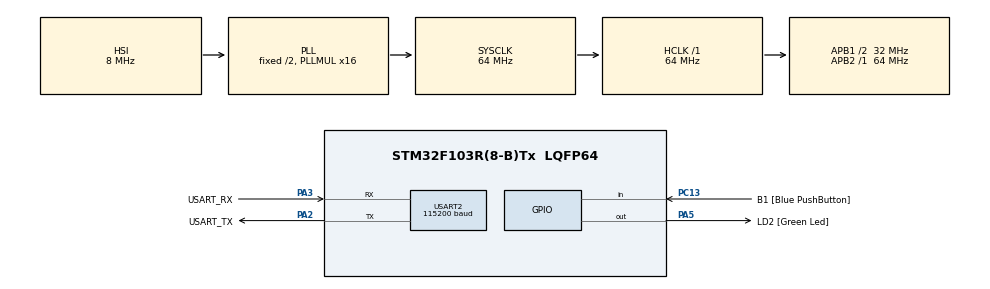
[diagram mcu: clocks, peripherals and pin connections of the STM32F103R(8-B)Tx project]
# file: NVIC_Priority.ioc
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Mcu.Family=STM32F1
Mcu.Name=STM32F103R(8-B)Tx
Mcu.Package=LQFP64
NVIC.PriorityGroup=NVIC_PRIORITYGROUP_2
NVIC.TIM2_IRQn=true\:1\:0\:false\:false\:true\:true\:true\:true
NVIC.TIM3_IRQn=true\:0\:0\:false\:false\:true\:true\:true\:true
PA13.GPIO_Label=TMS
PA13.Mode=Serial_Wire
PA13.Signal=SYS_JTMS-SWDIO
PA14.GPIO_Label=TCK
PA14.Mode=Serial_Wire
PA14.Signal=SYS_JTCK-SWCLK
PA2.GPIO_Label=USART_TX
PA2.GPIO_Mode=GPIO_MODE_AF_PP
PA2.GPIO_PuPd=GPIO_NOPULL
PA2.GPIO_Speed=GPIO_SPEED_FREQ_LOW
PA2.Mode=Asynchronous
PA2.Signal=USART2_TX
PA3.GPIO_Label=USART_RX
PA3.GPIO_PuPd=GPIO_NOPULL
PA3.GPIO_Speed=GPIO_SPEED_FREQ_LOW
PA3.Mode=Asynchronous
PA3.Signal=USART2_RX
PA5.GPIO_Label=LD2 [Green Led]
PA5.GPIO_ModeDefaultOutputPP=GPIO_MODE_OUTPUT_PP
PA5.GPIO_PuPd=GPIO_NOPULL
PA5.GPIO_Speed=GPIO_SPEED_FREQ_LOW
PA5.Signal=GPIO_Output
PB3.GPIO_Label=SWO
PB3.Signal=SYS_JTDO-TRACESWO
PC13-TAMPER-RTC.GPIO_Label=B1 [Blue PushButton]
PC13-TAMPER-RTC.GPIO_PuPd=GPIO_NOPULL
PC13-TAMPER-RTC.Signal=GPIO_Input
PC14-OSC32_IN.Mode=LSE-External-Oscillator
PC14-OSC32_IN.Signal=RCC_OSC32_IN
PC15-OSC32_OUT.Mode=LSE-External-Oscillator
PC15-OSC32_OUT.Signal=RCC_OSC32_OUT
PD0-OSC_IN.Mode=HSE-External-Clock-Source
PD0-OSC_IN.Signal=RCC_OSC_IN
PD1-OSC_OUT.Mode=HSE-External-Clock-Source
PD1-OSC_OUT.Signal=RCC_OSC_OUT
ProjectManager.HeapSize=0x200
ProjectManager.StackSize=0x400
ProjectManager.TargetToolchain=STM32CubeIDE
RCC.AHBFreq_Value=64000000
RCC.APB1CLKDivider=RCC_HCLK_DIV2
RCC.APB1Freq_Value=32000000
RCC.APB1TimFreq_Value=64000000
RCC.APB2Freq_Value=64000000
RCC.APB2TimFreq_Value=64000000
RCC.HCLKFreq_Value=64000000
RCC.PLLMUL=RCC_PLL_MUL16
RCC.RTCClockSelection=RCC_RTCCLKSOURCE_LSE
RCC.SYSCLKFreq_VALUE=64000000
RCC.SYSCLKSource=RCC_SYSCLKSOURCE_PLLCLK
RCC.USBFreq_Value=64000000
TIM2.Period=999
TIM2.Prescaler=6399
TIM3.Period=99
TIM3.Prescaler=6399
USART2.BaudRate=115200
USART2.VirtualMode=VM_ASYNC
VP_TIM2_VS_ClockSourceINT.Mode=Internal
VP_TIM3_VS_ClockSourceINT.Mode=Internal
board=NUCLEO-F103RB

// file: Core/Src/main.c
/* USER CODE BEGIN Header */
/**
 ******************************************************************************
 * @file           : main.c
 * @brief          : Main program body
 ******************************************************************************
 * @attention
 *
 * Copyright (c) 2026 STMicroelectronics.
 * All rights reserved.
 *
 * This software is licensed under terms that can be found in the LICENSE file
 * in the root directory of this software component.
 * If no LICENSE file comes with this software, it is provided AS-IS.
 *
 ******************************************************************************
 */
/**
 * 06_NVIC_Priority_HAL_c  —  [계층: HAL]  NVIC 우선순위 그룹(선점/서브)과 인터럽트 중첩 실험
 *
 * 실험 구성
 *   TIM3 ISR : 10ms 마다 발생, 짧다. 진입 간격의 "최대값(지터)"을 측정한다. (급한 인터럽트 역할)
 *   TIM2 ISR : 100ms 마다 발생, 일부러 20ms 동안 바쁜 대기한다. (오래 걸리는 인터럽트 역할)
 *   -> TIM2 ISR 이 실행되는 20ms 동안 TIM3 가 제때 들어올 수 있는지가 우선순위 설정에 달렸다.
 *
 * B1(PC13)을 누를 때마다 우선순위 케이스가 A -> B -> C 로 바뀌고, 1초마다 결과를 UART(115200)로 출력한다.
 *
 *   케이스 A (TIM3 선점 우선순위 0 < TIM2 1) : TIM3 가 TIM2 ISR 을 "선점(중첩)". 최대 간격 ~10ms 유지.
 *   케이스 B (선점 우선순위 같음 1, 서브만 TIM3 가 높음) : 서브 우선순위는 "선점하지 못한다".
 *                                              TIM3 는 TIM2 ISR 이 끝날 때까지 대기 -> 최대 간격 ~20~30ms.
 *   케이스 C (TIM3 선점 2, TIM2 선점 1) : 긴 ISR 에 더 높은 우선순위를 준 잘못된 배정. B 와 비슷하게 지연.
 *   교훈: "짧고 급한" 인터럽트에 높은 우선순위를, "길고 덜 급한" 인터럽트에 낮은 우선순위를 주어야 한다.
 *
 * NVIC 우선순위 (STM32F103: 우선순위 비트 4개 = 상위 4비트만 구현)
 *   HAL_NVIC_SetPriorityGrouping(NVIC_PRIORITYGROUP_2) -> SCB->AIRCR.PRIGROUP = 5
 *     -> 우선순위 필드 [7:4] 중 상위 2비트 = 선점(preempt, 0~3), 하위 2비트 = 서브(sub, 0~3)
 *   HAL_NVIC_SetPriority(irq, preempt, sub) -> NVIC->IP[irq] 에 인코딩하여 기록. 숫자가 작을수록 우선순위가 높다.
 *   같은 선점 우선순위끼리는 중첩 불가, 동시에 대기 중일 때만 서브 우선순위로 실행 순서를 정한다.
 *
 * ISR vs 콜백
 *   TIM2_IRQHandler / TIM3_IRQHandler (stm32f1xx_it.c, 진짜 ISR) -> HAL_TIM_IRQHandler()
 *     -> HAL_TIM_PeriodElapsedCallback() (이 파일) : 두 타이머가 같은 콜백을 공유하므로 Instance 로 구분
 *   ISR 안에서 UART 출력을 하지 않고 통계 변수만 갱신한다 (출력은 main).
 *
 * 측정: DWT 사이클 카운터 (64MHz). SysTick 은 TICK_INT_PRIORITY=0(최고)이라 HAL_Delay 가 흔들리지 않는다.
 */
/* USER CODE END Header */
#include "main.h"

/* USER CODE BEGIN Includes */
#include <stdio.h>
#include <string.h>
/* USER CODE END Includes */

/* USER CODE BEGIN PD */
#define CPU_MHZ 64U

/* USER CODE END PD */

TIM_HandleTypeDef htim2;
TIM_HandleTypeDef htim3;
UART_HandleTypeDef huart2;

/* USER CODE BEGIN PV */
static volatile uint32_t tim3_last;         /* TIM3 직전 진입 시각 (사이클) */
static volatile uint32_t tim3_max_gap_us;   /* 최근 1초간 TIM3 진입 간격 최대값 [us] */
static volatile uint32_t tim3_count, tim2_count;
static volatile uint8_t  tim3_first = 1;

static uint8_t prio_case;                   /* 0=A, 1=B, 2=C */

static const char *const case_desc[3] = {
    "A: TIM3(pre 0) preempts TIM2(pre 1)  -> nesting",
    "B: same preempt(1), sub only         -> no nesting",
    "C: TIM3(pre 2) below TIM2(pre 1)     -> long ISR wins"
};
/* USER CODE END PV */

void SystemClock_Config(void);
static void MX_GPIO_Init(void);
static void MX_TIM2_Init(void);
static void MX_TIM3_Init(void);
static void MX_USART2_UART_Init(void);
/* USER CODE BEGIN PFP */
static void apply_case(uint8_t c);

/* USER CODE END PFP */

/* USER CODE BEGIN 0 */
/* 케이스별 NVIC 우선순위 적용. NVIC->IP[TIM2_IRQn / TIM3_IRQn] 를 다시 쓴다 */
static void apply_case(uint8_t c)
{
    static const uint8_t tim3_pre[3] = {0, 1, 2}, tim3_sub[3] = {0, 0, 0};
    static const uint8_t tim2_pre[3] = {1, 1, 1}, tim2_sub[3] = {0, 1, 0};

    HAL_NVIC_SetPriority(TIM3_IRQn, tim3_pre[c], tim3_sub[c]);
    HAL_NVIC_SetPriority(TIM2_IRQn, tim2_pre[c], tim2_sub[c]);

    __disable_irq();
    prio_case = c;
    tim3_first = 1; tim3_max_gap_us = 0; tim3_count = 0; tim2_count = 0;
    __enable_irq();
}

/* USER CODE END 0 */

int main(void)
{

  /* MCU Configuration--------------------------------------------------------*/

  /* Reset of all peripherals, Initializes the Flash interface and the Systick. */
  HAL_Init();

  /* USER CODE BEGIN Init */
  /* NVIC 우선순위 그룹 2: SCB->AIRCR.PRIGROUP = 5 -> 선점 2비트 / 서브 2비트.
   * HAL_MspInit/MX_TIM*_Init (TIMx_MspInit 의 HAL_NVIC_SetPriority) 보다 먼저 설정해야 우선순위가 이 그룹 기준으로 인코딩된다. */
  HAL_NVIC_SetPriorityGrouping(NVIC_PRIORITYGROUP_2);
  /* USER CODE END Init */

  /* Configure the system clock */
  SystemClock_Config();

  /* Initialize all configured peripherals */
  MX_GPIO_Init();
  MX_TIM2_Init();
  MX_TIM3_Init();
  MX_USART2_UART_Init();
  /* USER CODE BEGIN 2 */
  /* DWT 사이클 카운터: CoreDebug->DEMCR.TRCENA=1, DWT->CTRL.CYCCNTENA=1 */
  CoreDebug->DEMCR |= CoreDebug_DEMCR_TRCENA_Msk;
  DWT->CYCCNT = 0;
  DWT->CTRL |= DWT_CTRL_CYCCNTENA_Msk;

  /* 케이스 A 우선순위 적용 (NVIC->IP[TIM2_IRQn/TIM3_IRQn] 를 선점/서브 그룹 2 기준으로 기록) 후 타이머 시작.
   * 원본은 타이머를 먼저 시작한 뒤 apply_case(0) 를 호출했지만, 우선순위가 정해진 뒤에 시작하도록 순서를 바꿨다. */
  apply_case(0);
  if (HAL_TIM_Base_Start_IT(&htim3) != HAL_OK) Error_Handler();   /* TIM3->DIER.UIE = 1, CR1.CEN = 1 */
  if (HAL_TIM_Base_Start_IT(&htim2) != HAL_OK) Error_Handler();   /* TIM2->DIER.UIE = 1, CR1.CEN = 1 */

  char msg[112];
  uint32_t t_print = DWT->CYCCNT;
  /* USER CODE END 2 */

  /* Infinite loop */
  while (1)
  {

    /* USER CODE BEGIN 3 */
    /* 1초마다 통계 출력 (SysTick 이 아니라 DWT 로 시간을 잰다) */
    if ((DWT->CYCCNT - t_print) >= CPU_MHZ * 1000000U)
    {
      t_print += CPU_MHZ * 1000000U;

      __disable_irq();                               /* ISR 이 쓰는 변수를 한꺼번에 읽고 초기화 */
      uint32_t gap = tim3_max_gap_us, c3 = tim3_count, c2 = tim2_count;
      tim3_max_gap_us = 0; tim3_count = 0; tim2_count = 0;
      __enable_irq();

      int n = snprintf(msg, sizeof msg, "[%s] TIM3 max gap=%lu us, TIM3=%lu, TIM2=%lu (1s)\r\n",
              case_desc[prio_case], (unsigned long)gap, (unsigned long)c3, (unsigned long)c2);
      HAL_UART_Transmit(&huart2, (uint8_t *)msg, (uint16_t)n, 200);
    }

    if (HAL_GPIO_ReadPin(B1_GPIO_Port, B1_Pin) == GPIO_PIN_RESET)   /* B1 : 케이스 전환 */
    {
      HAL_Delay(30);
      apply_case((uint8_t)((prio_case + 1) % 3));
      while (HAL_GPIO_ReadPin(B1_GPIO_Port, B1_Pin) == GPIO_PIN_RESET) {}
      HAL_Delay(30);
    }
  }
  /* USER CODE END 3 */
}

void SystemClock_Config(void)
{
  RCC_OscInitTypeDef RCC_OscInitStruct = {0};
  RCC_ClkInitTypeDef RCC_ClkInitStruct = {0};

  /** Initializes the RCC Oscillators according to the specified parameters
  * in the RCC_OscInitTypeDef structure.
  */
  RCC_OscInitStruct.OscillatorType = RCC_OSCILLATORTYPE_HSI;
  RCC_OscInitStruct.HSIState = RCC_HSI_ON;
  RCC_OscInitStruct.HSICalibrationValue = RCC_HSICALIBRATION_DEFAULT;
  RCC_OscInitStruct.PLL.PLLState = RCC_PLL_ON;
  RCC_OscInitStruct.PLL.PLLSource = RCC_PLLSOURCE_HSI_DIV2;
  RCC_OscInitStruct.PLL.PLLMUL = RCC_PLL_MUL16;
  if (HAL_RCC_OscConfig(&RCC_OscInitStruct) != HAL_OK)
  {
    Error_Handler();
  }

  /** Initializes the CPU, AHB and APB buses clocks
  */
  RCC_ClkInitStruct.ClockType = RCC_CLOCKTYPE_HCLK|RCC_CLOCKTYPE_SYSCLK
                              |RCC_CLOCKTYPE_PCLK1|RCC_CLOCKTYPE_PCLK2;
  RCC_ClkInitStruct.SYSCLKSource = RCC_SYSCLKSOURCE_PLLCLK;
  RCC_ClkInitStruct.AHBCLKDivider = RCC_SYSCLK_DIV1;
  RCC_ClkInitStruct.APB1CLKDivider = RCC_HCLK_DIV2;
  RCC_ClkInitStruct.APB2CLKDivider = RCC_HCLK_DIV1;

  if (HAL_RCC_ClockConfig(&RCC_ClkInitStruct, FLASH_LATENCY_2) != HAL_OK)
  {
    Error_Handler();
  }
}

static void MX_GPIO_Init(void)
{
  GPIO_InitTypeDef GPIO_InitStruct = {0};

  /* GPIO Ports Clock Enable */
  __HAL_RCC_GPIOC_CLK_ENABLE();
  __HAL_RCC_GPIOD_CLK_ENABLE();
  __HAL_RCC_GPIOA_CLK_ENABLE();
  __HAL_RCC_GPIOB_CLK_ENABLE();

  /*Configure GPIO pin Output Level */
  HAL_GPIO_WritePin(LD2_GPIO_Port, LD2_Pin, GPIO_PIN_RESET);

  /*Configure GPIO pin : B1_Pin */
  GPIO_InitStruct.Pin = B1_Pin;
  GPIO_InitStruct.Mode = GPIO_MODE_INPUT;
  GPIO_InitStruct.Pull = GPIO_NOPULL;
  HAL_GPIO_Init(B1_GPIO_Port, &GPIO_InitStruct);

  /*Configure GPIO pin : LD2_Pin */
  GPIO_InitStruct.Pin = LD2_Pin;
  GPIO_InitStruct.Mode = GPIO_MODE_OUTPUT_PP;
  GPIO_InitStruct.Pull = GPIO_NOPULL;
  GPIO_InitStruct.Speed = GPIO_SPEED_FREQ_LOW;
  HAL_GPIO_Init(LD2_GPIO_Port, &GPIO_InitStruct);

}

static void MX_TIM2_Init(void)
{

  TIM_ClockConfigTypeDef sClockSourceConfig = {0};
  TIM_MasterConfigTypeDef sMasterConfig = {0};

  htim2.Instance = TIM2;
  htim2.Init.Prescaler = 6399;
  htim2.Init.CounterMode = TIM_COUNTERMODE_UP;
  htim2.Init.Period = 999;
  htim2.Init.ClockDivision = TIM_CLOCKDIVISION_DIV1;
  htim2.Init.AutoReloadPreload = TIM_AUTORELOAD_PRELOAD_DISABLE;
  if (HAL_TIM_Base_Init(&htim2) != HAL_OK)
  {
    Error_Handler();
  }
  sClockSourceConfig.ClockSource = TIM_CLOCKSOURCE_INTERNAL;
  if (HAL_TIM_ConfigClockSource(&htim2, &sClockSourceConfig) != HAL_OK)
  {
    Error_Handler();
  }
  sMasterConfig.MasterOutputTrigger = TIM_TRGO_RESET;
  sMasterConfig.MasterSlaveMode = TIM_MASTERSLAVEMODE_DISABLE;
  if (HAL_TIMEx_MasterConfigSynchronization(&htim2, &sMasterConfig) != HAL_OK)
  {
    Error_Handler();
  }
  /* USER CODE BEGIN TIM2_Init 2 */
  /* 타이머 클럭 64MHz / 6400 = 10kHz.  TIM2: ARR = 999 -> 100ms 주기 (길고 덜 급한 인터럽트) */
  /* USER CODE END TIM2_Init 2 */

}

static void MX_TIM3_Init(void)
{

  TIM_ClockConfigTypeDef sClockSourceConfig = {0};
  TIM_MasterConfigTypeDef sMasterConfig = {0};

  htim3.Instance = TIM3;
  htim3.Init.Prescaler = 6399;
  htim3.Init.CounterMode = TIM_COUNTERMODE_UP;
  htim3.Init.Period = 99;
  htim3.Init.ClockDivision = TIM_CLOCKDIVISION_DIV1;
  htim3.Init.AutoReloadPreload = TIM_AUTORELOAD_PRELOAD_DISABLE;
  if (HAL_TIM_Base_Init(&htim3) != HAL_OK)
  {
    Error_Handler();
  }
  sClockSourceConfig.ClockSource = TIM_CLOCKSOURCE_INTERNAL;
  if (HAL_TIM_ConfigClockSource(&htim3, &sClockSourceConfig) != HAL_OK)
  {
    Error_Handler();
  }
  sMasterConfig.MasterOutputTrigger = TIM_TRGO_RESET;
  sMasterConfig.MasterSlaveMode = TIM_MASTERSLAVEMODE_DISABLE;
  if (HAL_TIMEx_MasterConfigSynchronization(&htim3, &sMasterConfig) != HAL_OK)
  {
    Error_Handler();
  }
  /* USER CODE BEGIN TIM3_Init 2 */
  /* 타이머 클럭 64MHz / 6400 = 10kHz.  TIM3: ARR = 99 -> 10ms 주기 (짧고 급한 인터럽트) */
  /* USER CODE END TIM3_Init 2 */

}

static void MX_USART2_UART_Init(void)
{

  huart2.Instance = USART2;
  huart2.Init.BaudRate = 115200;
  huart2.Init.WordLength = UART_WORDLENGTH_8B;
  huart2.Init.StopBits = UART_STOPBITS_1;
  huart2.Init.Parity = UART_PARITY_NONE;
  huart2.Init.Mode = UART_MODE_TX_RX;
  huart2.Init.HwFlowCtl = UART_HWCONTROL_NONE;
  huart2.Init.OverSampling = UART_OVERSAMPLING_16;
  if (HAL_UART_Init(&huart2) != HAL_OK)
  {
    Error_Handler();
  }

}

/* USER CODE BEGIN 4 */
/* ------------------------------------------------------------------------- */
/* HAL 콜백 (ISR 문맥): 두 타이머의 주기 인터럽트가 같은 콜백으로 들어온다              */
/* ------------------------------------------------------------------------- */
void HAL_TIM_PeriodElapsedCallback(TIM_HandleTypeDef *htim)
{
    if (htim->Instance == TIM3)                            /* 짧고 급한 인터럽트: 진입 간격 측정 */
    {
        uint32_t now = DWT->CYCCNT;
        if (!tim3_first)
        {
            uint32_t gap_us = (now - tim3_last) / CPU_MHZ;
            if (gap_us > tim3_max_gap_us) tim3_max_gap_us = gap_us;
        }
        tim3_first = 0;
        tim3_last = now;
        tim3_count++;
    }
    else if (htim->Instance == TIM2)                       /* 길고 덜 급한 인터럽트: 20ms 점유 */
    {
        uint32_t t = DWT->CYCCNT;
        while ((DWT->CYCCNT - t) < CPU_MHZ * 20000U) {}    /* 20ms 바쁜 대기 (실제 코드에서는 절대 금지) */
        tim2_count++;
    }
}
/* USER CODE END 4 */

void Error_Handler(void)
{
  __disable_irq();
  while (1) {
  }
}
#ifdef USE_FULL_ASSERT
/**
  * @brief  Reports the name of the source file and the source line number
  *         where the assert_param error has occurred.
  * @param  file: pointer to the source file name
  * @param  line: assert_param error line source number
  * @retval None
  */
void assert_failed(uint8_t *file, uint32_t line)
{
  /* USER CODE BEGIN 6 */
  /* User can add his own implementation to report the file name and line
     number, ex: printf("Wrong parameters value: file %s on line %d\r\n", file,
     line) */
  /* USER CODE END 6 */
}
#endif /* USE_FULL_ASSERT */
